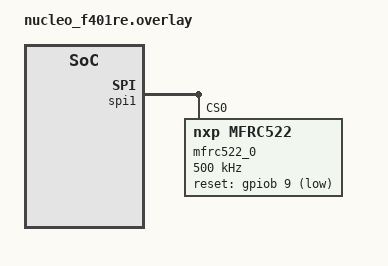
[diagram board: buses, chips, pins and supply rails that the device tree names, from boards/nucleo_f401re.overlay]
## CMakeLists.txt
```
# SPDX-License-Identifier: Apache-2.0

cmake_minimum_required(VERSION 3.20.0)
find_package(Zephyr REQUIRED HINTS $ENV{ZEPHYR_BASE})
project(mfrc522)

target_sources(app PRIVATE src/main.c)
```

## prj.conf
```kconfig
CONFIG_LOG=y
CONFIG_SHELL=y

CONFIG_RFID=y
CONFIG_RFID_LOG_LEVEL_INF=y

CONFIG_MFRC522=y
CONFIG_SPI=y

CONFIG_NET_BUF=y
```

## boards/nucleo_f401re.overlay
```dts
/*
 * Copyright (c) 2026 Luke Bugbee <lbugbee@protonmail.com>
 *
 * SPDX-License-Identifier: Apache-2.0
 */

/ {
	aliases {
		rfid = &mfrc522_0;
	};
};

&usart1 {
	status = "disabled";
};

&i2c1 {
	status = "disabled";
};

&spi1 {
	status = "okay";

	mfrc522_0: mfrc522@0 {
		compatible = "nxp,mfrc522";
		reg = <0>;
		spi-max-frequency = <500000>;
		reset-gpios = <&gpiob 9 GPIO_ACTIVE_LOW>;
		bit-rate = <0>;
		miller-mod-width = <38>;
		rx-timeout-ms = <36>;
		status = "okay";
	};
};
```

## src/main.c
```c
/*
 * Copyright (c) 2026 Luke Bugbee <lbugbee@protonmail.com>
 *
 * SPDX-License-Identifier: Apache-2.0
 */

#include <zephyr/drivers/rfid/mfrc522.h>
#include <zephyr/logging/log.h>
#include <zephyr/net_buf.h>

LOG_MODULE_REGISTER(mfrc522_sample, CONFIG_RFID_LOG_LEVEL);

#define PICC_CMD_REQA    0x26
#define PICC_CMD_SEL_CL1 0x93

#define PICC_ANTICOLL 0x20
#define PICC_SELECT   0x70

#define POLL_FREQ_MS 100

#define UID_MAX_LEN 10

static const struct device *rfid_dev = DEVICE_DT_GET(DT_ALIAS(rfid));

static int detect_tag(const struct device *dev, uint16_t *atq)
{
	NET_BUF_SIMPLE_DEFINE(tx_buf, 1);
	NET_BUF_SIMPLE_DEFINE(rx_buf, 2);
	int ret;

	net_buf_simple_add_u8(&tx_buf, PICC_CMD_REQA);

	LOG_HEXDUMP_DBG(tx_buf.data, tx_buf.len, "-> TX");

	ret = mfrc522_transceive(dev, tx_buf.data, tx_buf.len, rx_buf.data, rx_buf.size, 7);
	if (ret < 0) {
		return ret;
	}
	rx_buf.len = ret;

	LOG_HEXDUMP_DBG(rx_buf.data, rx_buf.len, "<- RX");

	*atq = (rx_buf.data[1] << 4U) | rx_buf.data[0];

	return 0;
}

static int read_uid(const struct device *dev, uint8_t *uid, uint8_t *uid_len)
{
	NET_BUF_SIMPLE_DEFINE(tx_buf, 2);
	NET_BUF_SIMPLE_DEFINE(rx_buf, 5);
	int ret;

	net_buf_simple_add_u8(&tx_buf, PICC_CMD_SEL_CL1);
	net_buf_simple_add_u8(&tx_buf, PICC_ANTICOLL);

	LOG_HEXDUMP_DBG(tx_buf.data, tx_buf.len, "-> TX");

	ret = mfrc522_transceive(dev, tx_buf.data, tx_buf.len, rx_buf.data, rx_buf.size, 0);
	if (ret < 0) {
		return ret;
	}
	rx_buf.len = ret;

	LOG_HEXDUMP_DBG(rx_buf.data, rx_buf.len, "<- RX");

	if (rx_buf.len > UID_MAX_LEN) {
		LOG_ERR("rx length %d overflows UID max length %d", rx_buf.len, UID_MAX_LEN);
		return -ENOBUFS;
	}

	memcpy(uid, rx_buf.data, rx_buf.len);
	*uid_len = rx_buf.len;

	return 0;
}

int main(void)
{
	uint8_t uid[UID_MAX_LEN];
	uint8_t uid_len;
	uint16_t atq;
	int ret;

	if (!device_is_ready(rfid_dev)) {
		LOG_ERR("mfrc522 dev is not ready");
		return -ENODEV;
	}

	mfrc522_enable(rfid_dev, true);

	LOG_INF("starting poll for rfid tags");
	while (true) {
		ret = detect_tag(rfid_dev, &atq);
		if (ret < 0) {
			/* no tag, keep polling */
			goto poll_next;
		}

		ret = read_uid(rfid_dev, uid, &uid_len);
		if (ret < 0) {
			LOG_ERR("failed to read uid");
			goto poll_next;
		}

		LOG_HEXDUMP_INF(uid, uid_len, "UID");

poll_next:
		k_msleep(POLL_FREQ_MS);
	}

	return 0;
}
```
